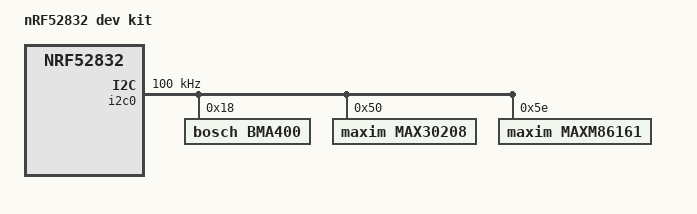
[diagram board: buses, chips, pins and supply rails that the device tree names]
/dts-v1/;
#include <nordic/nrf52832_ciaa.dtsi>
#include "nRF52832-dev-pinctrl.dtsi"

/ {
	model = "nRF52832 dev kit";
	compatible = "nordic,nRF52832-dev";

	chosen {
		zephyr,sram = &sram0;
		zephyr,flash = &flash0;
		zephyr,code-partition = &slot0_partition;
	};

	aliases {
		i2c0 = &i2c0;
	};
};

&flash0 {
	partitions {
		compatible = "fixed-partitions";
		#address-cells = <1>;
		#size-cells = <1>;

		boot_partition: partition@0 {
			label = "mcuboot";
			reg = <0x00000000 DT_SIZE_K(48)>;
		};

		slot0_partition: partition@c000 {
			label = "image-0";
			reg = <0x0000c000 DT_SIZE_K(220)>;
		};

		slot1_partition: partition@43000 {
			label = "image-1";
			reg = <0x00043000 DT_SIZE_K(220)>;
		};

		storage_partition: partition@7a000 {
			label = "storage";
			reg = <0x0007a000 DT_SIZE_K(24)>;
		};
	};
};

&i2c0 {
	compatible = "nordic,nrf-twim";
	status = "okay";
	clock-frequency = <I2C_BITRATE_STANDARD>;
	pinctrl-0 = <&i2c0_default>;
	pinctrl-names = "default";

	/* I2C devices */
	bma400: bma400@18 {
		compatible = "bosch,bma400";
		reg = <0x18>;
		label = "BMA400";
		status = "okay";
	};

	max30208: max30208@50 {
		compatible = "maxim,max30208";
		reg = <0x50>;
		label = "MAX30208";
		status = "okay";
	};

	maxm86161: maxm86161@5e {
		compatible = "maxim,maxm86161";
		reg = <0x5e>;
		label = "MAXM86161";
		status = "okay";
	};
};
